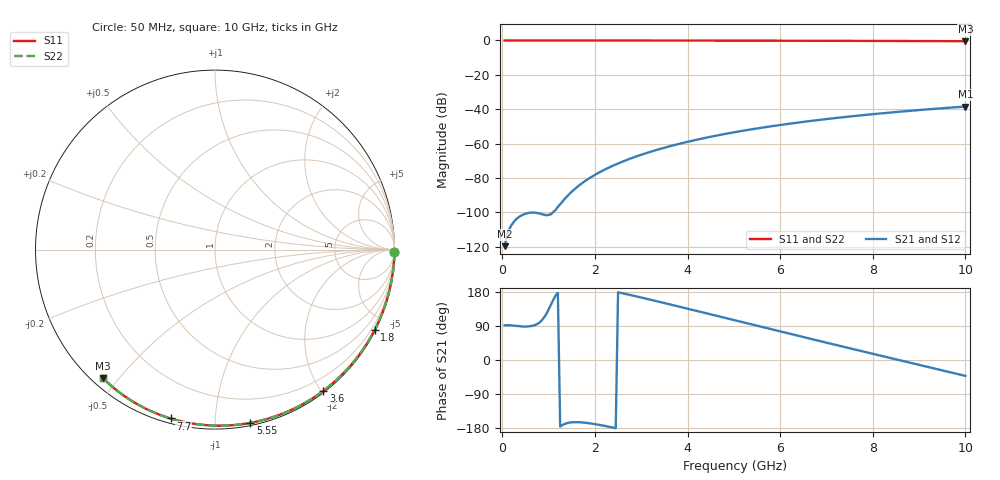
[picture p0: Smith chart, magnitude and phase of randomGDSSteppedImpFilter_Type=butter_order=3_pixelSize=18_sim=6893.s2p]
! freq	dB(S11)	phase(S11)	dB(S12)	phase(S12)
!  dB(S21)	phase(S21)	dB(S22)	phase(S22)
!S-par simulation data
#  GHz  S  DB  R 50
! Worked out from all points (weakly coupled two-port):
!   200 points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, 50 MHz to 10 GHz, reference 50 ohm
!   highest |S21| = -38.43 dB at 10 GHz (marker M1); lowest = -119.6 dB at 50 MHz (marker M2)
!   lowest |S11| = -0.4 dB at 10 GHz (marker M3), VSWR 39.04, Z = 1.55 - j22.7 ohm
!   |S11| at or under -10 dB: nowhere
!   |S22| runs from -0.4 to 0.0 dB; largest |S21 - S12| = 0
!   S11 on the Smith chart (normalised r, x): 50 MHz: open; 1.8 GHz: 0.04, -4.19; 3.6 GHz: 0.02, -2.03; 5.55 GHz: 0.02, -1.23; 7.7 GHz: 0.02, -0.77; 10 GHz: 0.03, -0.45
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0.05  -0.00 -0.8  -119.61 91.4  -119.61 91.4  -0.00 -0.8
0.45  -0.01 -6.8  -101.26 88.3  -101.26 88.3  -0.01 -6.8
0.9  -0.02 -13.6  -101.34 112.1  -101.34 112.1  -0.02 -13.6
1.75  -0.03 -26.1  -82.45 -165.1  -82.45 -165.1  -0.03 -26.1
1.8  -0.03 -26.9  -81.51 -165.7  -81.51 -165.7  -0.03 -26.9
1.9  -0.04 -28.3  -79.76 -167.3  -79.76 -167.3  -0.04 -28.3
2.05  -0.04 -30.5  -77.38 -170.3  -77.38 -170.3  -0.04 -30.5
2.25  -0.04 -33.4  -74.57 -174.9  -74.57 -174.9  -0.04 -33.4
2.45  -0.05 -36.3  -72.09 -179.9  -72.09 -179.9  -0.05 -36.3
2.65  -0.05 -39.1  -69.87 174.7  -69.87 174.7  -0.05 -39.2
3  -0.06 -44.1  -66.46 164.9  -66.46 164.9  -0.06 -44.1
3.4  -0.07 -49.7  -63.12 153.3  -63.12 153.3  -0.07 -49.7
3.6  -0.07 -52.5  -61.63 147.4  -61.63 147.4  -0.07 -52.5
4.3  -0.09 -62.1  -57.11 126.5  -57.11 126.5  -0.09 -62.1
5.05  -0.11 -72.0  -53.18 103.9  -53.18 103.9  -0.11 -72.0
5.55  -0.13 -78.4  -50.95 88.9  -50.95 88.9  -0.13 -78.4
6.1  -0.15 -85.4  -48.77 72.5  -48.77 72.5  -0.15 -85.4
6.7  -0.18 -92.8  -46.66 54.6  -46.66 54.6  -0.18 -92.8
7.7  -0.24 -104.8  -43.66 25.1  -43.66 25.1  -0.24 -104.8
8.35  -0.29 -112.3  -41.98 6.1  -41.98 6.1  -0.29 -112.3
9.15  -0.36 -121.5  -40.14 -17.1  -40.14 -17.1  -0.36 -121.5
10  -0.45 -131.1  -38.43 -41.9  -38.43 -41.9  -0.45 -131.1
